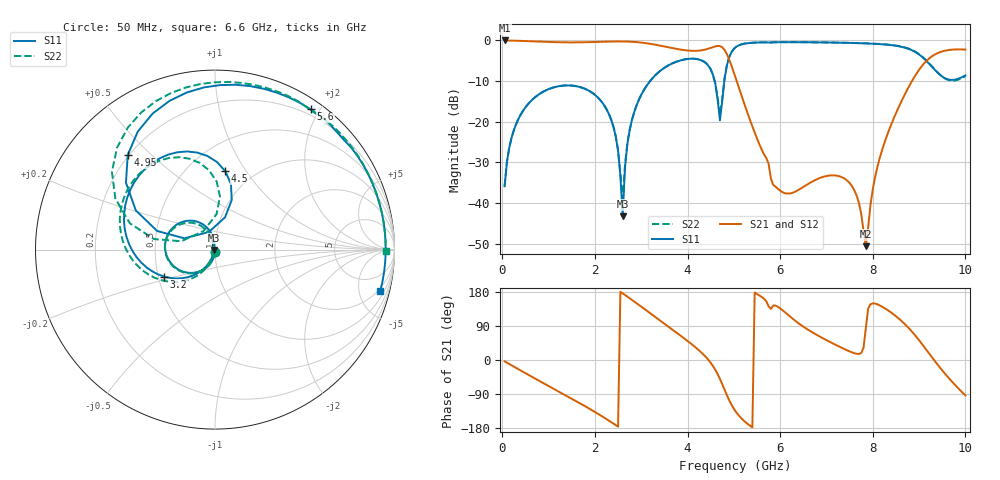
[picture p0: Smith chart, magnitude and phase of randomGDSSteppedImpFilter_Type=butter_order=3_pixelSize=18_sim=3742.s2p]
! freq	dB(S11)	phase(S11)	dB(S12)	phase(S12)
!  dB(S21)	phase(S21)	dB(S22)	phase(S22)
!S-par simulation data
#  GHz  S  DB  R 50
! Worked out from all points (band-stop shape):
!   200 points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, 50 MHz to 10 GHz, reference 50 ohm
!   highest |S21| = 0.00 dB at 50 MHz (marker M1); lowest = -50.7 dB at 7.85 GHz (marker M2)
!   |S21| within 3 dB of the highest: start of sweep to 4.833 GHz; 9.425 GHz to end of sweep
!   lowest |S11| = -43.3 dB at 2.6 GHz (marker M3), VSWR 1.01, Z = 49.4 - j0.25 ohm
!   |S11| at or under -10 dB: start of sweep to 3.192 GHz; 4.584 GHz to 4.795 GHz (210.5 MHz wide, 4.49 % of centre)
!   |S22| runs from -39.0 to -0.4 dB; largest |S21 - S12| = 0
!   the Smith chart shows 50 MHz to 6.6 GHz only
!   S11 on the Smith chart (normalised r, x): 50 MHz: 1.00, -0.03; 3.2 GHz: 0.54, -0.18; 4.5 GHz: 0.75, +0.81; 4.95 GHz: 0.20, +0.42; 5.6 GHz: 0.13, +1.89; 6.6 GHz: 1.63, -7.69
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0.05  -35.90 -93.3  -0.00 -3.5  -0.00 -3.5  -35.90 -93.2
0.55  -15.76 -129.1  -0.17 -38.2  -0.17 -38.2  -15.76 -128.1
1.75  -11.75 148.8  -0.45 -119.3  -0.45 -119.3  -11.75 152.5
2.4  -21.25 101.7  -0.26 -167.8  -0.26 -167.8  -21.24 109.4
2.6  -43.33 -158.2  -0.25 175.8  -0.25 175.8  -38.99 -166.4
2.75  -22.11 -114.0  -0.30 162.9  -0.30 162.9  -22.01 -112.8
3.2  -9.88 -152.0  -0.84 122.8  -0.84 122.8  -9.87 -146.5
3.4  -7.59 -170.1  -1.25 104.7  -1.25 104.7  -7.58 -163.7
4.5  -7.13 82.4  -1.84 -7.4  -1.84 -7.4  -7.08 94.1
4.7  -19.68 109.1  -1.39 -49.9  -1.39 -49.9  -18.30 121.4
4.95  -2.89 132.7  -6.22 -118.3  -6.22 -118.3  -2.86 143.0
5.05  -1.58 114.6  -9.61 -137.6  -9.61 -137.6  -1.56 125.6
5.6  -0.48 55.6  -26.85 166.4  -26.85 166.4  -0.47 68.5
6.6  -0.45 -14.2  -35.37 80.1  -35.37 80.1  -0.44 -0.3
6.7  -0.46 -20.6  -34.71 72.6  -34.71 72.6  -0.45 -6.7
7.5  -0.61 -71.4  -35.11 22.6  -35.11 22.6  -0.58 -57.9
7.85  -0.73 -95.0  -50.65 82.9  -50.65 82.9  -0.70 -81.5
8.35  -1.09 -134.6  -22.10 129.3  -22.10 129.3  -1.05 -120.5
8.75  -1.98 -178.4  -11.99 87.6  -11.99 87.6  -1.91 -162.2
9.15  -4.94 118.5  -5.15 28.2  -5.15 28.2  -4.83 140.3
9.5  -8.89 55.4  -2.71 -27.4  -2.71 -27.4  -8.91 83.9
10  -8.61 -14.9  -2.25 -93.5  -2.25 -93.5  -8.82 8.7
